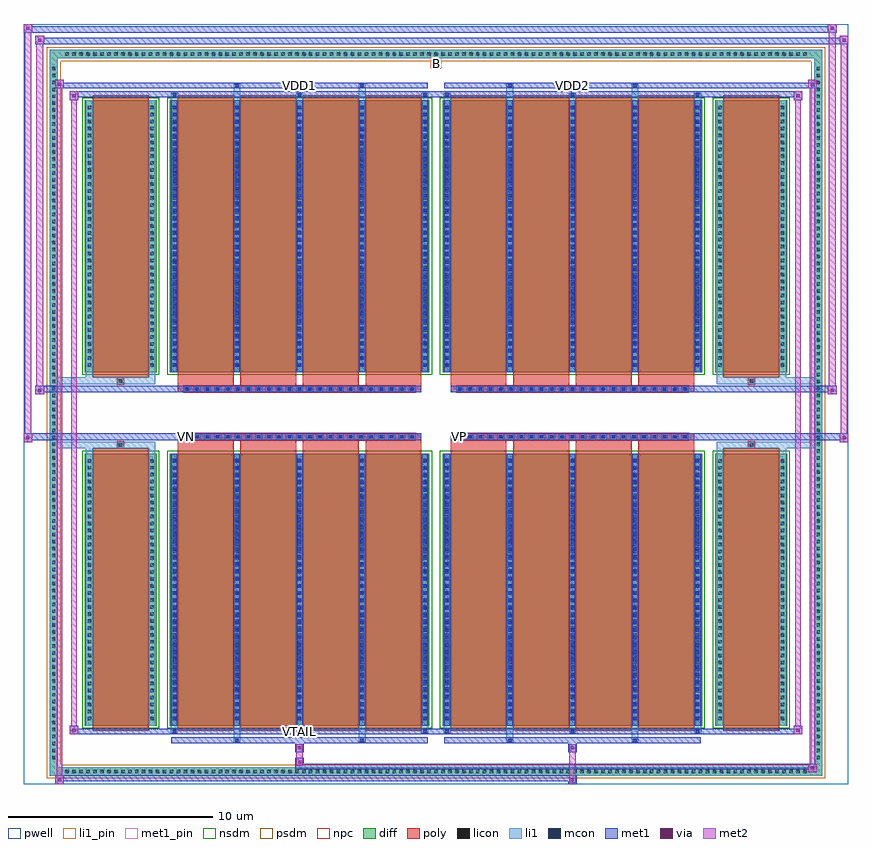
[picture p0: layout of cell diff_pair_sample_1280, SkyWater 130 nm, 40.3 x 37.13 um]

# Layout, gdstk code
import gdstk
lib = gdstk.Library(unit=1e-6, precision=5e-09)
def R(c, l, rs):  # rectangles x0, y0, x1, y1
    for r in rs: c.add(gdstk.rectangle(r[:2], r[2:], *l))
def A(c, l, x, y, w, h, nx, ny, dx, dy):  # array of equal rectangles
    R(c, l, [(x+i*dx, y+j*dy, x+i*dx+w, y+j*dy+h) for i in range(nx) for j in range(ny)])
def P(c, l, *ps):  # polygons
    for p in ps: c.add(gdstk.Polygon(p, *l))
pwell = (64, 44)
diff = (65, 20)
poly = (66, 20)
licon = (66, 44)
li1_pin = (67, 16)
li1 = (67, 20)
mcon = (67, 44)
met1_pin = (68, 16)
met1 = (68, 20)
via = (68, 44)
met2 = (69, 20)
nsdm = (93, 44)
psdm = (94, 20)
npc = (95, 20)

diff_pair_sample_1280 = lib.new_cell('diff_pair_sample_1280')
R(diff_pair_sample_1280, pwell, [(-20.15,-18.13,20.15,19), (-17.47,-16.32,-0.01,-0.8), (0.01,-16.32,17.47,-0.8), (-17.47,0.8,-0.01,16.32), (0.01,0.8,17.47,16.32)])
A(diff_pair_sample_1280, diff, -18.225, -17.73, 0.41, 0.41, 107, 2, 0.34, 35.05)
A(diff_pair_sample_1280, diff, -18.88, -17.035, 0.41, 0.41, 1, 100, 0, 0.34)
A(diff_pair_sample_1280, diff, 18.47, -17.035, 0.41, 0.41, 1, 100, 0, 0.34)
R(diff_pair_sample_1280, diff, [(-18.225,-17.73,18.225,-17.32), (-18.88,-17.035,-18.47,17.035), (18.47,-17.035,18.88,17.035), (-17.16,-15.275,-13.65,-1.985), (-13.01,-15.275,-0.32,-1.985), (0.32,-15.275,13.01,-1.985), (13.65,-15.275,17.16,-1.985), (-17.16,1.985,-13.65,15.275), (-13.01,1.985,-0.32,15.275), (0.32,1.985,13.01,15.275), (13.65,1.985,17.16,15.275), (-18.225,17.32,18.225,17.73)])
P(diff_pair_sample_1280, diff, [(18.88,17.73),(-18.88,17.73),(-18.88,-17.32),(-18.47,-17.32),(-18.47,17.32),(18.47,17.32),(18.47,-17.32),(-18.47,-17.32),(-18.88,-17.32),(-18.88,-17.73),(18.88,-17.73)])
A(diff_pair_sample_1280, poly, -12.62, -15.525, 2.73, 13.79, 4, 2, 3.06, 17.26)
A(diff_pair_sample_1280, poly, 0.71, -15.525, 2.73, 13.79, 4, 2, 3.06, 17.26)
A(diff_pair_sample_1280, poly, -12.62, -1.735, 2.73, 0.405, 4, 2, 3.06, 3.065)
A(diff_pair_sample_1280, poly, 0.71, -1.735, 2.73, 0.405, 4, 2, 3.06, 3.065)
A(diff_pair_sample_1280, poly, -12.33, -1.33, 0.33, 0.33, 23, 2, 0.5, 2.33)
A(diff_pair_sample_1280, poly, 1, -1.33, 0.33, 0.33, 23, 2, 0.5, 2.33)
R(diff_pair_sample_1280, poly, [(-16.77,-15.525,-14.04,-1.735), (14.04,-15.525,16.77,-1.735), (-15.57,-1.735,-15.24,-1.405), (-15.57,-1.735,-15.24,-1.405), (15.24,-1.735,15.57,-1.405), (15.24,-1.735,15.57,-1.405), (-12.62,-1.33,-0.71,-1), (0.71,-1.33,12.62,-1), (-12.62,1,-0.71,1.33), (0.71,1,12.62,1.33), (-15.57,1.405,-15.24,1.735), (-15.57,1.405,-15.24,1.735), (15.24,1.405,15.57,1.735), (15.24,1.405,15.57,1.735), (-16.77,1.735,-14.04,15.525), (14.04,1.735,16.77,15.525)])
A(diff_pair_sample_1280, licon, -18.105, -17.61, 0.17, 0.17, 107, 2, 0.34, 35.05)
A(diff_pair_sample_1280, licon, -18.76, -16.915, 0.17, 0.17, 1, 100, 0, 0.34)
A(diff_pair_sample_1280, licon, 18.59, -16.915, 0.17, 0.17, 1, 100, 0, 0.34)
A(diff_pair_sample_1280, licon, -17.02, -15.005, 0.17, 0.17, 1, 38, 0, 0.34)
A(diff_pair_sample_1280, licon, -13.96, -15.005, 0.17, 0.17, 1, 38, 0, 0.34)
A(diff_pair_sample_1280, licon, -12.87, -15.005, 0.17, 0.17, 5, 38, 3.06, 0.34)
A(diff_pair_sample_1280, licon, 0.46, -15.005, 0.17, 0.17, 5, 38, 3.06, 0.34)
A(diff_pair_sample_1280, licon, 13.79, -15.005, 0.17, 0.17, 1, 38, 0, 0.34)
A(diff_pair_sample_1280, licon, 16.85, -15.005, 0.17, 0.17, 1, 38, 0, 0.34)
A(diff_pair_sample_1280, licon, -12.25, -1.25, 0.17, 0.17, 23, 2, 0.5, 2.33)
A(diff_pair_sample_1280, licon, 1.08, -1.25, 0.17, 0.17, 23, 2, 0.5, 2.33)
A(diff_pair_sample_1280, licon, -17.02, 2.255, 0.17, 0.17, 1, 38, 0, 0.34)
A(diff_pair_sample_1280, licon, -13.96, 2.255, 0.17, 0.17, 1, 38, 0, 0.34)
A(diff_pair_sample_1280, licon, -12.87, 2.255, 0.17, 0.17, 5, 38, 3.06, 0.34)
A(diff_pair_sample_1280, licon, 0.46, 2.255, 0.17, 0.17, 5, 38, 3.06, 0.34)
A(diff_pair_sample_1280, licon, 13.79, 2.255, 0.17, 0.17, 1, 38, 0, 0.34)
A(diff_pair_sample_1280, licon, 16.85, 2.255, 0.17, 0.17, 1, 38, 0, 0.34)
R(diff_pair_sample_1280, licon, [(-15.49,-1.655,-15.32,-1.485), (15.32,-1.655,15.49,-1.485), (-15.49,1.485,-15.32,1.655), (15.32,1.485,15.49,1.655)])
R(diff_pair_sample_1280, li1_pin, [(-0.25,16.82,0.25,17.32)])
A(diff_pair_sample_1280, li1, -18.185, -17.69, 0.33, 0.33, 107, 2, 0.34, 35.05)
A(diff_pair_sample_1280, li1, -18.84, -16.995, 0.33, 0.33, 1, 100, 0, 0.34)
A(diff_pair_sample_1280, li1, 18.51, -16.995, 0.33, 0.33, 1, 100, 0, 0.34)
A(diff_pair_sample_1280, li1, -12.95, -15.65, 0.33, 0.375, 3, 2, 6.12, 30.925)
A(diff_pair_sample_1280, li1, -12.87, -15.65, 0.17, 0.17, 3, 2, 6.12, 31.13)
A(diff_pair_sample_1280, li1, 0.38, -15.65, 0.33, 0.375, 3, 2, 6.12, 30.925)
A(diff_pair_sample_1280, li1, 0.46, -15.65, 0.17, 0.17, 3, 2, 6.12, 31.13)
A(diff_pair_sample_1280, li1, -12.95, -15.275, 0.33, 13.29, 5, 2, 3.06, 17.26)
A(diff_pair_sample_1280, li1, 0.38, -15.275, 0.33, 13.29, 5, 2, 3.06, 17.26)
A(diff_pair_sample_1280, li1, -17.1, -15.085, 0.33, 0.33, 1, 38, 0, 0.34)
A(diff_pair_sample_1280, li1, -14.04, -15.085, 0.33, 0.33, 1, 38, 0, 0.34)
A(diff_pair_sample_1280, li1, -12.95, -15.085, 0.33, 0.33, 5, 38, 3.06, 0.34)
A(diff_pair_sample_1280, li1, 0.38, -15.085, 0.33, 0.33, 5, 38, 3.06, 0.34)
A(diff_pair_sample_1280, li1, 13.71, -15.085, 0.33, 0.33, 1, 38, 0, 0.34)
A(diff_pair_sample_1280, li1, 16.77, -15.085, 0.33, 0.33, 1, 38, 0, 0.34)
A(diff_pair_sample_1280, li1, -12.87, -15.015, 0.17, 0.17, 5, 36, 3.06, 0.36)
A(diff_pair_sample_1280, li1, -12.87, -15.015, 0.17, 12.77, 5, 2, 3.06, 17.26)
A(diff_pair_sample_1280, li1, 0.46, -15.015, 0.17, 0.17, 5, 36, 3.06, 0.36)
A(diff_pair_sample_1280, li1, 0.46, -15.015, 0.17, 12.77, 5, 2, 3.06, 17.26)
A(diff_pair_sample_1280, li1, -12.33, -1.33, 0.33, 0.33, 23, 2, 0.5, 2.33)
A(diff_pair_sample_1280, li1, 1, -1.33, 0.33, 0.33, 23, 2, 0.5, 2.33)
A(diff_pair_sample_1280, li1, -17.1, 2.175, 0.33, 0.33, 1, 38, 0, 0.34)
A(diff_pair_sample_1280, li1, -14.04, 2.175, 0.33, 0.33, 1, 38, 0, 0.34)
A(diff_pair_sample_1280, li1, -12.95, 2.175, 0.33, 0.33, 5, 38, 3.06, 0.34)
A(diff_pair_sample_1280, li1, 0.38, 2.175, 0.33, 0.33, 5, 38, 3.06, 0.34)
A(diff_pair_sample_1280, li1, 13.71, 2.175, 0.33, 0.33, 1, 38, 0, 0.34)
A(diff_pair_sample_1280, li1, 16.77, 2.175, 0.33, 0.33, 1, 38, 0, 0.34)
A(diff_pair_sample_1280, li1, -12.87, 2.245, 0.17, 0.17, 5, 36, 3.06, 0.36)
A(diff_pair_sample_1280, li1, 0.46, 2.245, 0.17, 0.17, 5, 36, 3.06, 0.36)
R(diff_pair_sample_1280, li1, [(-18.88,-17.73,-18.47,-17.32), (-18.88,-17.73,-18.47,-17.32), (-18.47,-17.73,18.47,-17.32), (18.47,-17.73,18.88,-17.32), (18.47,-17.73,18.88,-17.32), (-18.88,-17.32,-18.47,17.32), (18.47,-17.32,18.88,17.32), (-9.89,-16.08,-9.56,-15.275), (-9.81,-16.08,-9.64,-15.91), (-3.77,-16.08,-3.44,-15.275), (-3.69,-16.08,-3.52,-15.91), (3.44,-16.08,3.77,-15.275), (3.52,-16.08,3.69,-15.91), (9.56,-16.08,9.89,-15.275), (9.64,-16.08,9.81,-15.91), (-17.1,-15.275,-16.77,-1.985), (-14.04,-15.275,-13.71,-1.985), (13.71,-15.275,14.04,-1.985), (16.77,-15.275,17.1,-1.985), (-17.1,-1.985,-16.77,-1.405), (-14.04,-1.985,-13.71,-1.405), (13.71,-1.985,14.04,-1.405), (16.77,-1.985,17.1,-1.405), (-18.88,-1.735,-15.57,-1.405), (-17.1,-1.735,-15.57,-1.405), (-15.57,-1.735,-15.24,-1.405), (-15.24,-1.735,-13.71,-1.405), (13.71,-1.735,15.24,-1.405), (15.24,-1.735,15.57,-1.405), (15.24,-1.735,18.88,-1.405), (15.57,-1.735,17.1,-1.405), (-18.88,1.405,-15.57,1.735), (-17.1,1.405,-15.57,1.735), (-17.1,1.405,-16.77,1.985), (-15.57,1.405,-15.24,1.735), (-15.24,1.405,-13.71,1.735), (-14.04,1.405,-13.71,1.985), (13.71,1.405,15.24,1.735), (13.71,1.405,14.04,1.985), (15.24,1.405,15.57,1.735), (15.24,1.405,18.88,1.735), (15.57,1.405,17.1,1.735), (16.77,1.405,17.1,1.985), (-17.1,1.985,-16.77,15.275), (-14.04,1.985,-13.71,15.275), (13.71,1.985,14.04,15.275), (16.77,1.985,17.1,15.275), (-9.89,15.275,-9.56,16.08), (-3.77,15.275,-3.44,16.08), (3.44,15.275,3.77,16.08), (9.56,15.275,9.89,16.08), (-9.81,15.91,-9.64,16.08), (-3.69,15.91,-3.52,16.08), (3.52,15.91,3.69,16.08), (9.64,15.91,9.81,16.08), (-18.88,17.32,-18.47,17.73), (-18.88,17.32,-18.47,17.73), (-18.47,17.32,18.47,17.73), (18.47,17.32,18.88,17.73), (18.47,17.32,18.88,17.73)])
A(diff_pair_sample_1280, mcon, -12.87, -15.65, 0.17, 0.17, 3, 2, 6.12, 31.13)
A(diff_pair_sample_1280, mcon, 0.46, -15.65, 0.17, 0.17, 3, 2, 6.12, 31.13)
A(diff_pair_sample_1280, mcon, -12.87, -15.015, 0.17, 0.17, 5, 36, 3.06, 0.36)
A(diff_pair_sample_1280, mcon, 0.46, -15.015, 0.17, 0.17, 5, 36, 3.06, 0.36)
A(diff_pair_sample_1280, mcon, -12.25, -1.25, 0.17, 0.17, 23, 2, 0.5, 2.33)
A(diff_pair_sample_1280, mcon, 1.08, -1.25, 0.17, 0.17, 23, 2, 0.5, 2.33)
A(diff_pair_sample_1280, mcon, -12.87, 2.245, 0.17, 0.17, 5, 36, 3.06, 0.36)
A(diff_pair_sample_1280, mcon, 0.46, 2.245, 0.17, 0.17, 5, 36, 3.06, 0.36)
R(diff_pair_sample_1280, mcon, [(-9.81,-16.08,-9.64,-15.91), (-3.69,-16.08,-3.52,-15.91), (3.52,-16.08,3.69,-15.91), (9.64,-16.08,9.81,-15.91), (-9.81,15.91,-9.64,16.08), (-3.69,15.91,-3.52,16.08), (3.52,15.91,3.69,16.08), (9.64,15.91,9.81,16.08)])
R(diff_pair_sample_1280, met1_pin, [(-6.8,-15.69,-6.53,-15.42), (-12.3,-1.29,-12.03,-1.02), (1.03,-1.29,1.3,-1.02), (-6.8,15.87,-6.53,16.14), (6.53,15.87,6.8,16.14)])
A(diff_pair_sample_1280, met1, -12.93, -15.71, 0.29, 0.29, 3, 2, 6.12, 31.13)
A(diff_pair_sample_1280, met1, 0.4, -15.71, 0.29, 0.29, 3, 2, 6.12, 31.13)
A(diff_pair_sample_1280, met1, -12.93, -15.275, 0.29, 13.29, 5, 2, 3.06, 17.26)
A(diff_pair_sample_1280, met1, 0.4, -15.275, 0.29, 13.29, 5, 2, 3.06, 17.26)
A(diff_pair_sample_1280, met1, -12.93, -15.075, 0.29, 0.29, 5, 36, 3.06, 0.36)
A(diff_pair_sample_1280, met1, 0.4, -15.075, 0.29, 0.29, 5, 36, 3.06, 0.36)
A(diff_pair_sample_1280, met1, -12.31, -1.31, 0.29, 0.29, 23, 2, 0.5, 2.33)
A(diff_pair_sample_1280, met1, 1.02, -1.31, 0.29, 0.29, 23, 2, 0.5, 2.33)
A(diff_pair_sample_1280, met1, -12.93, 2.185, 0.29, 0.29, 5, 36, 3.06, 0.36)
A(diff_pair_sample_1280, met1, 0.4, 2.185, 0.29, 0.29, 5, 36, 3.06, 0.36)
R(diff_pair_sample_1280, met1, [(-18.61,-18.13,-18.18,-17.7), (6.45,-18.13,6.88,-17.7), (-18.61,-17.99,6.88,-17.7), (18.18,-17.56,18.61,-17.13), (-6.88,-17.42,18.61,-17.13), (-6.88,-17.28,-6.45,-16.85), (-6.88,-16.57,-6.45,-16.14), (6.45,-16.57,6.88,-16.14), (-12.93,-16.14,-0.4,-15.85), (-9.87,-16.14,-9.58,-15.85), (-3.75,-16.14,-3.46,-15.85), (0.4,-16.14,12.93,-15.85), (3.46,-16.14,3.75,-15.85), (9.58,-16.14,9.87,-15.85), (-17.9,-15.71,-17.47,-15.28), (-17.9,-15.71,-12.93,-15.42), (-12.93,-15.71,-0.4,-15.42), (-0.4,-15.71,0.4,-15.42), (0.4,-15.71,12.93,-15.42), (12.93,-15.71,17.9,-15.42), (17.47,-15.71,17.9,-15.28), (-20.15,-1.43,-19.72,-1), (19.72,-1.43,20.15,-1), (-20.15,-1.33,-0.71,-1), (-12.62,-1.33,-0.71,-1), (0.71,-1.33,12.62,-1), (0.71,-1.33,20.15,-1), (-19.58,0.9,-19.15,1.33), (19.15,0.9,19.58,1.33), (-19.58,1,-12.62,1.33), (-12.62,1,-0.71,1.33), (0.71,1,12.62,1.33), (12.62,1,19.58,1.33), (-17.9,15.28,-17.47,15.71), (17.47,15.28,17.9,15.71), (-17.9,15.42,-12.93,15.71), (-12.93,15.42,-0.4,15.71), (-0.4,15.42,0.4,15.71), (0.4,15.42,12.93,15.71), (12.93,15.42,17.9,15.71), (-18.61,15.85,-18.18,16.28), (-18.61,15.85,-12.93,16.14), (-12.93,15.85,-0.4,16.14), (-9.87,15.85,-9.58,16.14), (-3.75,15.85,-3.46,16.14), (0.4,15.85,12.93,16.14), (3.46,15.85,3.75,16.14), (9.58,15.85,9.87,16.14), (12.93,15.85,18.61,16.14), (18.18,15.85,18.61,16.28), (-19.58,18,-19.15,18.43), (-19.58,18,-17.47,18.33), (-17.47,18,17.47,18.33), (17.47,18,20.15,18.33), (19.72,18,20.15,18.43), (-20.15,18.57,-19.72,19), (-20.15,18.57,-17.47,18.9), (-17.47,18.57,17.47,18.9), (17.47,18.57,19.58,18.9), (19.15,18.57,19.58,19)])
R(diff_pair_sample_1280, via, [(-18.47,-17.99,-18.32,-17.84), (6.59,-17.99,6.74,-17.84), (18.32,-17.42,18.47,-17.27), (-6.74,-17.14,-6.59,-16.99), (-6.74,-16.43,-6.59,-16.28), (6.59,-16.43,6.74,-16.28), (-17.76,-15.57,-17.61,-15.42), (17.61,-15.57,17.76,-15.42), (-20.01,-1.29,-19.86,-1.14), (19.86,-1.29,20.01,-1.14), (-19.44,1.04,-19.29,1.19), (19.29,1.04,19.44,1.19), (-17.76,15.42,-17.61,15.57), (17.61,15.42,17.76,15.57), (-18.47,15.99,-18.32,16.14), (18.32,15.99,18.47,16.14), (-19.44,18.14,-19.29,18.29), (19.86,18.14,20.01,18.29), (-20.01,18.71,-19.86,18.86), (19.29,18.71,19.44,18.86)])
R(diff_pair_sample_1280, met2, [(-18.61,-18.13,-18.18,-17.7), (-18.54,-18.13,-18.25,16.28), (-18.25,-18.13,-18.18,-17.7), (-18.56,-18.08,-18.23,-17.75), (6.5,-18.08,6.83,-17.75), (6.5,-17.75,6.83,-16.52), (18.18,-17.56,18.61,-17.13), (18.25,-17.56,18.54,16.28), (18.54,-17.56,18.61,-17.13), (18.23,-17.51,18.56,-17.18), (-6.83,-17.23,-6.5,-16.9), (-6.83,-16.9,-6.5,-16.52), (-6.83,-16.52,-6.5,-16.19), (6.5,-16.52,6.83,-16.19), (-17.9,-15.71,-17.47,-15.28), (-17.83,-15.71,-17.54,15.71), (-17.54,-15.71,-17.47,-15.28), (17.47,-15.71,17.9,-15.28), (17.54,-15.71,17.83,15.71), (17.83,-15.71,17.9,-15.28), (-17.85,-15.66,-17.52,-15.33), (17.52,-15.66,17.85,-15.33), (-20.15,-1.43,-19.72,-1), (-20.1,-1.43,-19.77,19), (-19.77,-1.43,-19.72,-1), (19.72,-1.43,20.15,-1), (19.77,-1.43,20.1,18.43), (20.1,-1.43,20.15,-1), (-20.1,-1.38,-19.77,-1.05), (19.77,-1.38,20.1,-1.05), (-19.58,0.9,-19.15,1.33), (-19.53,0.9,-19.2,18.43), (-19.2,0.9,-19.15,1.33), (19.15,0.9,19.58,1.33), (19.2,0.9,19.53,19), (19.53,0.9,19.58,1.33), (-19.53,0.95,-19.2,1.28), (19.2,0.95,19.53,1.28), (-17.9,15.28,-17.47,15.71), (-17.54,15.28,-17.47,15.71), (17.47,15.28,17.9,15.71), (17.83,15.28,17.9,15.71), (-17.85,15.33,-17.52,15.66), (17.52,15.33,17.85,15.66), (-18.61,15.85,-18.18,16.28), (-18.25,15.85,-18.18,16.28), (18.18,15.85,18.61,16.28), (18.54,15.85,18.61,16.28), (-18.56,15.9,-18.23,16.23), (18.23,15.9,18.56,16.23), (-19.58,18,-19.15,18.43), (-19.2,18,-19.15,18.43), (19.72,18,20.15,18.43), (20.1,18,20.15,18.43), (-19.53,18.05,-19.2,18.38), (19.77,18.05,20.1,18.38), (-20.15,18.57,-19.72,19), (-19.77,18.57,-19.72,19), (19.15,18.57,19.58,19), (19.53,18.57,19.58,19), (-20.1,18.62,-19.77,18.95), (19.2,18.62,19.53,18.95)])
R(diff_pair_sample_1280, nsdm, [(-17.29,-15.405,-13.52,-1.855), (-13.14,-15.405,-0.19,-1.855), (0.19,-15.405,13.14,-1.855), (13.52,-15.405,17.29,-1.855), (-17.29,1.855,-13.52,15.405), (-13.14,1.855,-0.19,15.405), (0.19,1.855,13.14,15.405), (13.52,1.855,17.29,15.405)])
P(diff_pair_sample_1280, psdm, [(19.01,17.86),(-19.01,17.86),(-19.01,-17.19),(-18.34,-17.19),(-18.34,17.19),(18.34,17.19),(18.34,-17.19),(-18.34,-17.19),(-19.01,-17.19),(-19.01,-17.86),(19.01,-17.86)])
A(diff_pair_sample_1280, npc, -12.35, -1.35, 0.37, 0.37, 23, 2, 0.5, 2.33)
A(diff_pair_sample_1280, npc, 0.98, -1.35, 0.37, 0.37, 23, 2, 0.5, 2.33)
R(diff_pair_sample_1280, npc, [(-15.59,-1.755,-15.22,-1.385), (15.22,-1.755,15.59,-1.385), (-12.35,-1.35,-11.48,-0.98), (-12.35,-1.35,-11.48,-0.98), (-11.85,-1.35,-10.98,-0.98), (-11.85,-1.35,-10.98,-0.98), (-11.35,-1.35,-10.48,-0.98), (-11.35,-1.35,-10.48,-0.98), (-10.85,-1.35,-9.98,-0.98), (-10.85,-1.35,-9.98,-0.98), (-10.35,-1.35,-9.48,-0.98), (-10.35,-1.35,-9.48,-0.98), (-9.85,-1.35,-8.98,-0.98), (-9.85,-1.35,-8.98,-0.98), (-9.35,-1.35,-8.48,-0.98), (-9.35,-1.35,-8.48,-0.98), (-8.85,-1.35,-7.98,-0.98), (-8.85,-1.35,-7.98,-0.98), (-8.35,-1.35,-7.48,-0.98), (-8.35,-1.35,-7.48,-0.98), (-7.85,-1.35,-6.98,-0.98), (-7.85,-1.35,-6.98,-0.98), (-7.35,-1.35,-6.48,-0.98), (-7.35,-1.35,-6.48,-0.98), (-6.85,-1.35,-5.98,-0.98), (-6.85,-1.35,-5.98,-0.98), (-6.35,-1.35,-5.48,-0.98), (-6.35,-1.35,-5.48,-0.98), (-5.85,-1.35,-4.98,-0.98), (-5.85,-1.35,-4.98,-0.98), (-5.35,-1.35,-4.48,-0.98), (-5.35,-1.35,-4.48,-0.98), (-4.85,-1.35,-3.98,-0.98), (-4.85,-1.35,-3.98,-0.98), (-4.35,-1.35,-3.48,-0.98), (-4.35,-1.35,-3.48,-0.98), (-3.85,-1.35,-2.98,-0.98), (-3.85,-1.35,-2.98,-0.98), (-3.35,-1.35,-2.48,-0.98), (-3.35,-1.35,-2.48,-0.98), (-2.85,-1.35,-1.98,-0.98), (-2.85,-1.35,-1.98,-0.98), (-2.35,-1.35,-1.48,-0.98), (-2.35,-1.35,-1.48,-0.98), (-1.85,-1.35,-0.98,-0.98), (-1.85,-1.35,-0.98,-0.98), (0.98,-1.35,1.85,-0.98), (0.98,-1.35,1.85,-0.98), (1.48,-1.35,2.35,-0.98), (1.48,-1.35,2.35,-0.98), (1.98,-1.35,2.85,-0.98), (1.98,-1.35,2.85,-0.98), (2.48,-1.35,3.35,-0.98), (2.48,-1.35,3.35,-0.98), (2.98,-1.35,3.85,-0.98), (2.98,-1.35,3.85,-0.98), (3.48,-1.35,4.35,-0.98), (3.48,-1.35,4.35,-0.98), (3.98,-1.35,4.85,-0.98), (3.98,-1.35,4.85,-0.98), (4.48,-1.35,5.35,-0.98), (4.48,-1.35,5.35,-0.98), (4.98,-1.35,5.85,-0.98), (4.98,-1.35,5.85,-0.98), (5.48,-1.35,6.35,-0.98), (5.48,-1.35,6.35,-0.98), (5.98,-1.35,6.85,-0.98), (5.98,-1.35,6.85,-0.98), (6.48,-1.35,7.35,-0.98), (6.48,-1.35,7.35,-0.98), (6.98,-1.35,7.85,-0.98), (6.98,-1.35,7.85,-0.98), (7.48,-1.35,8.35,-0.98), (7.48,-1.35,8.35,-0.98), (7.98,-1.35,8.85,-0.98), (7.98,-1.35,8.85,-0.98), (8.48,-1.35,9.35,-0.98), (8.48,-1.35,9.35,-0.98), (8.98,-1.35,9.85,-0.98), (8.98,-1.35,9.85,-0.98), (9.48,-1.35,10.35,-0.98), (9.48,-1.35,10.35,-0.98), (9.98,-1.35,10.85,-0.98), (9.98,-1.35,10.85,-0.98), (10.48,-1.35,11.35,-0.98), (10.48,-1.35,11.35,-0.98), (10.98,-1.35,11.85,-0.98), (10.98,-1.35,11.85,-0.98), (11.48,-1.35,12.35,-0.98), (11.48,-1.35,12.35,-0.98), (-12.35,0.98,-11.48,1.35), (-12.35,0.98,-11.48,1.35), (-11.85,0.98,-10.98,1.35), (-11.85,0.98,-10.98,1.35), (-11.35,0.98,-10.48,1.35), (-11.35,0.98,-10.48,1.35), (-10.85,0.98,-9.98,1.35), (-10.85,0.98,-9.98,1.35), (-10.35,0.98,-9.48,1.35), (-10.35,0.98,-9.48,1.35), (-9.85,0.98,-8.98,1.35), (-9.85,0.98,-8.98,1.35), (-9.35,0.98,-8.48,1.35), (-9.35,0.98,-8.48,1.35), (-8.85,0.98,-7.98,1.35), (-8.85,0.98,-7.98,1.35), (-8.35,0.98,-7.48,1.35), (-8.35,0.98,-7.48,1.35), (-7.85,0.98,-6.98,1.35), (-7.85,0.98,-6.98,1.35), (-7.35,0.98,-6.48,1.35), (-7.35,0.98,-6.48,1.35), (-6.85,0.98,-5.98,1.35), (-6.85,0.98,-5.98,1.35), (-6.35,0.98,-5.48,1.35), (-6.35,0.98,-5.48,1.35), (-5.85,0.98,-4.98,1.35), (-5.85,0.98,-4.98,1.35), (-5.35,0.98,-4.48,1.35), (-5.35,0.98,-4.48,1.35), (-4.85,0.98,-3.98,1.35), (-4.85,0.98,-3.98,1.35), (-4.35,0.98,-3.48,1.35), (-4.35,0.98,-3.48,1.35), (-3.85,0.98,-2.98,1.35), (-3.85,0.98,-2.98,1.35), (-3.35,0.98,-2.48,1.35), (-3.35,0.98,-2.48,1.35), (-2.85,0.98,-1.98,1.35), (-2.85,0.98,-1.98,1.35), (-2.35,0.98,-1.48,1.35), (-2.35,0.98,-1.48,1.35), (-1.85,0.98,-0.98,1.35), (-1.85,0.98,-0.98,1.35), (0.98,0.98,1.85,1.35), (0.98,0.98,1.85,1.35), (1.48,0.98,2.35,1.35), (1.48,0.98,2.35,1.35), (1.98,0.98,2.85,1.35), (1.98,0.98,2.85,1.35), (2.48,0.98,3.35,1.35), (2.48,0.98,3.35,1.35), (2.98,0.98,3.85,1.35), (2.98,0.98,3.85,1.35), (3.48,0.98,4.35,1.35), (3.48,0.98,4.35,1.35), (3.98,0.98,4.85,1.35), (3.98,0.98,4.85,1.35), (4.48,0.98,5.35,1.35), (4.48,0.98,5.35,1.35), (4.98,0.98,5.85,1.35), (4.98,0.98,5.85,1.35), (5.48,0.98,6.35,1.35), (5.48,0.98,6.35,1.35), (5.98,0.98,6.85,1.35), (5.98,0.98,6.85,1.35), (6.48,0.98,7.35,1.35), (6.48,0.98,7.35,1.35), (6.98,0.98,7.85,1.35), (6.98,0.98,7.85,1.35), (7.48,0.98,8.35,1.35), (7.48,0.98,8.35,1.35), (7.98,0.98,8.85,1.35), (7.98,0.98,8.85,1.35), (8.48,0.98,9.35,1.35), (8.48,0.98,9.35,1.35), (8.98,0.98,9.85,1.35), (8.98,0.98,9.85,1.35), (9.48,0.98,10.35,1.35), (9.48,0.98,10.35,1.35), (9.98,0.98,10.85,1.35), (9.98,0.98,10.85,1.35), (10.48,0.98,11.35,1.35), (10.48,0.98,11.35,1.35), (10.98,0.98,11.85,1.35), (10.98,0.98,11.85,1.35), (11.48,0.98,12.35,1.35), (11.48,0.98,12.35,1.35), (-15.59,1.385,-15.22,1.755), (15.22,1.385,15.59,1.755)])
diff_pair_sample_1280.add(gdstk.Label('VTAIL', (-6.665,-15.555), layer=68, texttype=5))
diff_pair_sample_1280.add(gdstk.Label('VN', (-12.165,-1.155), layer=68, texttype=5))
diff_pair_sample_1280.add(gdstk.Label('VP', (1.165,-1.155), layer=68, texttype=5))
diff_pair_sample_1280.add(gdstk.Label('B', (0,17.07), layer=67, texttype=5))
diff_pair_sample_1280.add(gdstk.Label('VDD2', (6.665,16.005), layer=68, texttype=5))
diff_pair_sample_1280.add(gdstk.Label('VDD1', (-6.665,16.005), layer=68, texttype=5))

lib.write_gds('diff_pair_sample_1280.gds')
